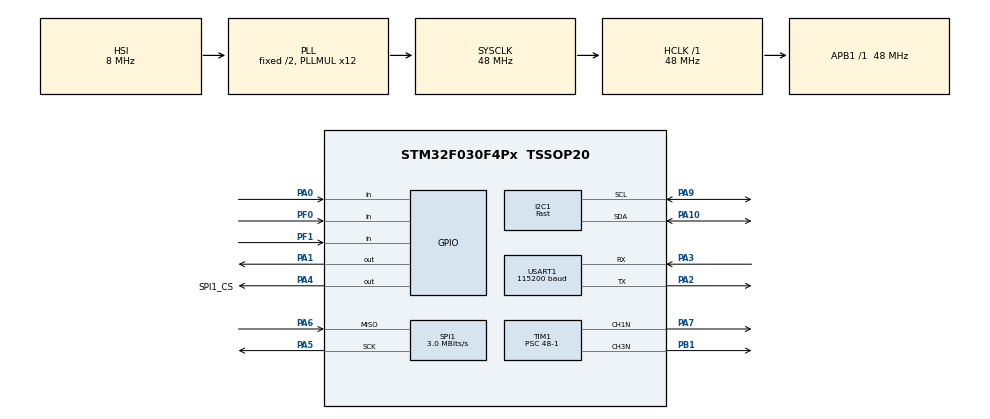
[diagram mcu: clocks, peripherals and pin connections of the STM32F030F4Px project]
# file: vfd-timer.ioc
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Dma.I2C1_TX.0.Direction=DMA_MEMORY_TO_PERIPH
Dma.I2C1_TX.0.Instance=DMA1_Channel2
Dma.I2C1_TX.0.MemDataAlignment=DMA_MDATAALIGN_BYTE
Dma.I2C1_TX.0.MemInc=DMA_MINC_ENABLE
Dma.I2C1_TX.0.Mode=DMA_NORMAL
Dma.I2C1_TX.0.PeriphDataAlignment=DMA_PDATAALIGN_BYTE
Dma.I2C1_TX.0.PeriphInc=DMA_PINC_DISABLE
Dma.I2C1_TX.0.Priority=DMA_PRIORITY_LOW
Dma.Request0=I2C1_TX
I2C1.I2C_Speed_Mode=I2C_Fast
I2C1.Timing=0x0010020A
Mcu.Family=STM32F0
Mcu.Name=STM32F030F4Px
Mcu.Package=TSSOP20
NVIC.DMA1_Channel2_3_IRQn=true\:0\:0\:false\:false\:true\:false\:true\:true
NVIC.TIM14_IRQn=true\:0\:0\:false\:false\:true\:true\:true\:true
NVIC.TIM17_IRQn=true\:3\:0\:false\:false\:true\:false\:true\:true
NVIC.TimeBase=TIM17_IRQn
NVIC.TimeBaseIP=TIM17
NVIC.USART1_IRQn=true\:2\:0\:true\:false\:true\:true\:true\:true
PA0.Signal=GPIO_Input
PA1.Signal=GPIO_Output
PA10.Mode=I2C
PA10.Signal=I2C1_SDA
PA13.Mode=Serial_Wire
PA13.Signal=SYS_SWDIO
PA14.Mode=Serial_Wire
PA14.Signal=SYS_SWCLK
PA2.Mode=Asynchronous
PA2.Signal=USART1_TX
PA3.Mode=Asynchronous
PA3.Signal=USART1_RX
PA4.GPIO_Label=SPI1_CS
PA4.PinState=GPIO_PIN_SET
PA4.Signal=GPIO_Output
PA5.Mode=RX_Only_Simplex_Unidirect_Master
PA5.Signal=SPI1_SCK
PA6.Mode=RX_Only_Simplex_Unidirect_Master
PA6.Signal=SPI1_MISO
PA7.Mode=PWM Generation1 CH1N
PA7.Signal=TIM1_CH1N
PA9.Mode=I2C
PA9.Signal=I2C1_SCL
PB1.Mode=PWM Generation3 CH3N
PB1.Signal=TIM1_CH3N
PF0-OSC_IN.Signal=GPIO_Input
PF1-OSC_OUT.Signal=GPIO_Input
ProjectManager.HeapSize=0x200
ProjectManager.StackSize=0x400
ProjectManager.TargetToolchain=STM32CubeIDE
RCC.AHBFreq_Value=48000000
RCC.APB1Freq_Value=48000000
RCC.APB1TimFreq_Value=48000000
RCC.HCLKFreq_Value=48000000
RCC.PLLMUL=RCC_PLL_MUL12
RCC.SYSCLKFreq_VALUE=48000000
RCC.SYSCLKSource=RCC_SYSCLKSOURCE_PLLCLK
SPI1.BaudRatePrescaler=SPI_BAUDRATEPRESCALER_16
SPI1.CalculateBaudRate=3.0 MBits/s
SPI1.DataSize=SPI_DATASIZE_16BIT
SPI1.Direction=SPI_DIRECTION_2LINES_RXONLY
SPI1.Mode=SPI_MODE_MASTER
SPI1.NSSPMode=SPI_NSS_PULSE_DISABLE
SPI1.TIMode=SPI_TIMODE_DISABLE
SPI1.VirtualType=VM_MASTER
TIM1.AutoReloadPreload=TIM_AUTORELOAD_PRELOAD_ENABLE
TIM1.AutomaticOutput=TIM_AUTOMATICOUTPUT_DISABLE
TIM1.Channel-PWM\ Generation1\ CH1N=TIM_CHANNEL_1
TIM1.Channel-PWM\ Generation3\ CH3N=TIM_CHANNEL_3
TIM1.CounterMode=TIM_COUNTERMODE_UP
TIM1.OCNPolarity_1=TIM_OCNPOLARITY_HIGH
TIM1.OCNPolarity_3=TIM_OCNPOLARITY_HIGH
TIM1.Period=1000-1
TIM1.Prescaler=48-1
TIM1.Pulse-PWM\ Generation1\ CH1N=1000
TIM1.Pulse-PWM\ Generation3\ CH3N=200
TIM14.AutoReloadPreload=TIM_AUTORELOAD_PRELOAD_ENABLE
TIM14.Period=1000-1
TIM14.Prescaler=48-1
USART1.BaudRate=115200
USART1.VirtualMode-Asynchronous=VM_ASYNC
VP_SYS_VS_tim17.Mode=TIM17
VP_TIM14_VS_ClockSourceINT.Mode=Enable_Timer
VP_TIM1_VS_ClockSourceINT.Mode=Internal
board=custom

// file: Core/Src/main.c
/* USER CODE BEGIN Header */
/**
  ******************************************************************************
  * @file           : main.c
  * @brief          : Main program body
  ******************************************************************************
  * @attention
  *
  * Copyright (c) 2024 STMicroelectronics.
  * All rights reserved.
  *
  * This software is licensed under terms that can be found in the LICENSE file
  * in the root directory of this software component.
  * If no LICENSE file comes with this software, it is provided AS-IS.
  *
  ******************************************************************************
  */
/* USER CODE END Header */
#include "main.h"

/* USER CODE BEGIN PD */
#define HEAT_PWM_DUTY (727-1)
#define MCP23017_ADDR 0x40

#define MCP23017_IODIRA		0x00
#define MCP23017_IODIRB		0x01
#define MCP23017_IPOLA		0x02
#define MCP23017_IPOLB		0x03
#define MCP23017_GPINTENA	0x04
#define MCP23017_GPINTENB	0x05
#define MCP23017_DEFVALA	0x06
#define MCP23017_DEFVALB	0x07
#define MCP23017_INTCONA	0x08
#define MCP23017_INTCONB	0x09
#define	MCP23017_IOCONA		0x0A
#define MCP23017_IOCONB		0x0B
#define MCP23017_GPPUA		0x0C
#define MCP23017_GPPUB		0x0D
#define MCP23017_INTFA		0x0E
#define MCP23017_INTFB		0x0F
#define MCP23017_INTCAPA	0x10
#define MCP23017_INTCAPB	0x11
#define MCP23017_GPIOA		0x12
#define MCP23017_GPIOB		0x13
#define MCP23017_OLATA		0x14
#define MCP23017_OLATB		0x15

#define NUM_0				(0x3F)
#define NUM_1				(0x14)
#define NUM_2				(0x6D)
#define NUM_3				(0x5D)
#define NUM_4				(0x56)
#define NUM_5				(0x5B)
#define NUM_6				(0x7B)
#define NUM_7				(0x15)
#define NUM_8				(0x7F)
#define NUM_9				(0x5F)
#define DOT					(0x80)
#define DOUBLE_DOT			(0x180)
#define UP_DOT				(0x100)

#define POS_0				(0x200)
#define POS_1				(0x400)
#define POS_2				(0x800)
#define POS_3				(0x1000)
#define POS_4				(0x2000)
/* USER CODE END PD */

I2C_HandleTypeDef hi2c1;
DMA_HandleTypeDef hdma_i2c1_tx;

SPI_HandleTypeDef hspi1;

TIM_HandleTypeDef htim1;
TIM_HandleTypeDef htim14;

UART_HandleTypeDef huart1;

/* USER CODE BEGIN PV */
volatile uint16_t vfd_buffer[5] = {0};
const uint16_t num_arr[] = {NUM_0, NUM_1, NUM_2, NUM_3, NUM_4, NUM_5, NUM_6, NUM_7, NUM_8, NUM_9, DOT, DOUBLE_DOT};
const uint16_t pos_arr[] = {POS_0, POS_1, POS_2, POS_3, POS_4};
volatile uint8_t timer_sw[3] = {0};
volatile uint32_t time_cnt[4] = {0};

enum {
	SW0 = 0,
	SW1,
	SW2,
	TIMEOUT
};
/* USER CODE END PV */

void SystemClock_Config(void);
static void MX_GPIO_Init(void);
static void MX_DMA_Init(void);
static void MX_USART1_UART_Init(void);
static void MX_SPI1_Init(void);
static void MX_I2C1_Init(void);
static void MX_TIM14_Init(void);
static void MX_TIM1_Init(void);

/* USER CODE BEGIN 0 */
void start_heat_vfd(void)
{
	HAL_TIMEx_PWMN_Start(&htim1, TIM_CHANNEL_1);
	HAL_TIMEx_PWMN_Start(&htim1, TIM_CHANNEL_3);
}

void stop_heat_vfd(void)
{
	HAL_TIMEx_PWMN_Stop(&htim1, TIM_CHANNEL_1);
	HAL_TIMEx_PWMN_Stop(&htim1, TIM_CHANNEL_3);
}

int get_temp(int *integer, int *fract)
{
	HAL_StatusTypeDef ret;
	uint16_t raw;

	HAL_GPIO_WritePin(SPI1_CS_GPIO_Port, SPI1_CS_Pin, GPIO_PIN_RESET);
	ret = HAL_SPI_Receive(&hspi1, (uint8_t*)&raw, 1, HAL_MAX_DELAY);
	if (ret == HAL_OK) {
	    if (((raw >> 2) & 1) == 1) {
	    	*integer = 0;
	    	*fract = 0;
	    } else {
	    	*integer = (int)(raw >> 3 & 0xFFF) / 4;
	    	*fract = (int)(raw >> 3 & 0xFFF) % 4 * 25;
	    	if (*integer > 99)
	    		*integer = 99;
	    }
	}
	HAL_GPIO_WritePin(SPI1_CS_GPIO_Port, SPI1_CS_Pin, GPIO_PIN_SET);
	return ret;
}

void enable_io(void)
{
	HAL_GPIO_WritePin(GPIOA, GPIO_PIN_1, GPIO_PIN_RESET);
	HAL_Delay(10);
	HAL_GPIO_WritePin(GPIOA, GPIO_PIN_1, GPIO_PIN_SET);
}

int get_sw_state(int n)
{
	switch (n) {
	case 0:
		return HAL_GPIO_ReadPin(GPIOF, GPIO_PIN_0);
	case 1:
		return HAL_GPIO_ReadPin(GPIOF, GPIO_PIN_1);
	case 2:
		return HAL_GPIO_ReadPin(GPIOA, GPIO_PIN_0);
	default:
		return -1;
	}
}

HAL_StatusTypeDef write_mcp23017(uint8_t reg, uint8_t *data, uint16_t size)
{
	return HAL_I2C_Mem_Write(&hi2c1, MCP23017_ADDR, reg, 1, data, size, 1000);
}

HAL_StatusTypeDef read_mcp23017(uint8_t reg, uint8_t *data, uint16_t size)
{
	return HAL_I2C_Mem_Read(&hi2c1, MCP23017_ADDR, reg, 1, data, size, 1000);
}

int setup_vfd_pin(void)
{
	int ret;
	uint16_t val;

	/* Set all pin low */
	val = 0;
	ret = write_mcp23017(MCP23017_GPIOA, (uint8_t*)&val, sizeof(val));
	if (ret)
		return -1;
	/* Set output */
	val = 0x0;
	ret = write_mcp23017(MCP23017_IODIRA, (uint8_t*)&val, sizeof(val));
	if (ret)
		return -1;
	return 0;
}

int write_vfd_pin(uint16_t pin)
{
	int ret;

	ret = write_mcp23017(MCP23017_GPIOA, (uint8_t*)&pin, sizeof(pin));
	return ret;
}

int read_vfd_pin(uint16_t *pin)
{
	int ret;

	ret = read_mcp23017(MCP23017_GPIOA, (uint8_t*)pin, sizeof(pin));
	return ret;
}

void gen_vfd_gigit(int pos, uint8_t num)
{
	uint16_t val;

	val = pos_arr[pos] | num_arr[num / 10];
	vfd_buffer[pos] = val;
	val = pos_arr[pos + 1] | num_arr[num % 10];
	vfd_buffer[pos + 1] = val;
}

void gen_vfd_dot(int one_or_two)
{
	switch (one_or_two) {
	case 1:
		vfd_buffer[2] = POS_2 | DOT;
		break;
	case 2:
		vfd_buffer[2] = POS_2 | DOUBLE_DOT;
		break;
	case 3:
		vfd_buffer[2] = POS_2 | UP_DOT;
		break;
	default:
		vfd_buffer[2] = 0;
	}
}

void gen_vfd_dot_or(int up, int on)
{
	uint16_t val = vfd_buffer[2] | POS_2;
	uint16_t dot;

	dot = up ? UP_DOT : DOT;
	if (on)
		val |= dot;
	else
		val &= ~dot;
	vfd_buffer[2] = val;
}

void vfd_display(void)
{
	for (int i = 0; i < 5; i++) {
		write_vfd_pin(vfd_buffer[i]);
		HAL_Delay(2);
	}
}

/* USER CODE END 0 */

int main(void)
{

  /* USER CODE BEGIN 1 */
  uint8_t val;
  uint32_t last_temp_tick = 0;
  int integer, fract;
  /* USER CODE END 1 */

  /* MCU Configuration--------------------------------------------------------*/

  /* Reset of all peripherals, Initializes the Flash interface and the Systick. */
  HAL_Init();

  /* Configure the system clock */
  SystemClock_Config();

  /* Initialize all configured peripherals */
  MX_GPIO_Init();
  MX_DMA_Init();
  MX_USART1_UART_Init();
  MX_SPI1_Init();
  MX_I2C1_Init();
  MX_TIM14_Init();
  MX_TIM1_Init();
  /* USER CODE BEGIN 2 */

  HAL_TIM_Base_Start_IT(&htim14);
  get_temp(&integer, &fract);
  /* Let`s warm up */
  start_heat_vfd();
  /* Wakey wakey, you are more expensive than the mcu */
  enable_io();
  HAL_Delay(1);
  setup_vfd_pin();
  HAL_Delay(100); /* Wait VFD heat up */

  /* USER CODE END 2 */

  /* Infinite loop */
  while (1)
  {

    /* USER CODE BEGIN 3 */
	if (HAL_GetTick() - last_temp_tick > 500) {
		last_temp_tick = HAL_GetTick();
		get_temp(&integer, &fract);
	}

	 uint8_t timer_cnt = 0;
	 for (int i = 0; i < 3; i++) {
		 val = get_sw_state(i);
		 if (val == 0) {
			 if (timer_sw[i] == 0)
				 time_cnt[i] = 0;
			 timer_sw[i] = 1;
			 time_cnt[TIMEOUT] = 5 * 60 * 1000;
			 if (++timer_cnt == 2)
				 break;
		 } else {
			 timer_sw[i] = 0;
		 }
	 }

	 if (timer_cnt == 1 && timer_sw[0] == 1) {
		 val = time_cnt[0] / 1000;
		 gen_vfd_gigit(0, val);
		 gen_vfd_gigit(3, integer);
		 if (val % 2)
			 gen_vfd_dot(3);
		 else
			 gen_vfd_dot(0);
	 } else if (timer_cnt == 1 && timer_sw[1] == 1) {
		 val = time_cnt[1] / 1000;
		 gen_vfd_gigit(0, val);
		 gen_vfd_gigit(3, integer);
		 if (val % 2)
			 gen_vfd_dot(3);
		 else
			 gen_vfd_dot(0);
	 } else if (timer_cnt == 1 && timer_sw[2] == 1) {
		 val = time_cnt[2] / 1000;
		 gen_vfd_gigit(3, time_cnt[2] / 1000);
		 gen_vfd_gigit(0, integer);
		 if (val % 2)
			 gen_vfd_dot(1);
		 else
			 gen_vfd_dot(0);
	 } else if (timer_cnt == 2) {
		 int pos = 0;
		 for (int i = 0; i < 3; i++) {
			 if (timer_sw[i]) {
				 val = time_cnt[i] / 1000;
				 gen_vfd_gigit(pos, val);
				 gen_vfd_dot_or(pos ? 0 : 1, val % 2);
				 pos += 3;
			 }
		 }
	 }
	 if (time_cnt[TIMEOUT] == 0){
		 gen_vfd_gigit(0, (uint8_t)integer);
		 gen_vfd_gigit(3, (uint8_t)fract);
		 gen_vfd_dot(1);
	 }

	 vfd_display();
  }
  /* USER CODE END 3 */
}

void SystemClock_Config(void)
{
  RCC_OscInitTypeDef RCC_OscInitStruct = {0};
  RCC_ClkInitTypeDef RCC_ClkInitStruct = {0};
  RCC_PeriphCLKInitTypeDef PeriphClkInit = {0};

  /** Initializes the RCC Oscillators according to the specified parameters
  * in the RCC_OscInitTypeDef structure.
  */
  RCC_OscInitStruct.OscillatorType = RCC_OSCILLATORTYPE_HSI;
  RCC_OscInitStruct.HSIState = RCC_HSI_ON;
  RCC_OscInitStruct.HSICalibrationValue = RCC_HSICALIBRATION_DEFAULT;
  RCC_OscInitStruct.PLL.PLLState = RCC_PLL_ON;
  RCC_OscInitStruct.PLL.PLLSource = RCC_PLLSOURCE_HSI;
  RCC_OscInitStruct.PLL.PLLMUL = RCC_PLL_MUL12;
  RCC_OscInitStruct.PLL.PREDIV = RCC_PREDIV_DIV1;
  if (HAL_RCC_OscConfig(&RCC_OscInitStruct) != HAL_OK)
  {
    Error_Handler();
  }

  /** Initializes the CPU, AHB and APB buses clocks
  */
  RCC_ClkInitStruct.ClockType = RCC_CLOCKTYPE_HCLK|RCC_CLOCKTYPE_SYSCLK
                              |RCC_CLOCKTYPE_PCLK1;
  RCC_ClkInitStruct.SYSCLKSource = RCC_SYSCLKSOURCE_PLLCLK;
  RCC_ClkInitStruct.AHBCLKDivider = RCC_SYSCLK_DIV1;
  RCC_ClkInitStruct.APB1CLKDivider = RCC_HCLK_DIV1;

  if (HAL_RCC_ClockConfig(&RCC_ClkInitStruct, FLASH_LATENCY_1) != HAL_OK)
  {
    Error_Handler();
  }
  PeriphClkInit.PeriphClockSelection = RCC_PERIPHCLK_USART1|RCC_PERIPHCLK_I2C1;
  PeriphClkInit.Usart1ClockSelection = RCC_USART1CLKSOURCE_PCLK1;
  PeriphClkInit.I2c1ClockSelection = RCC_I2C1CLKSOURCE_HSI;
  if (HAL_RCCEx_PeriphCLKConfig(&PeriphClkInit) != HAL_OK)
  {
    Error_Handler();
  }
}

static void MX_I2C1_Init(void)
{

  hi2c1.Instance = I2C1;
  hi2c1.Init.Timing = 0x0010020A;
  hi2c1.Init.OwnAddress1 = 0;
  hi2c1.Init.AddressingMode = I2C_ADDRESSINGMODE_7BIT;
  hi2c1.Init.DualAddressMode = I2C_DUALADDRESS_DISABLE;
  hi2c1.Init.OwnAddress2 = 0;
  hi2c1.Init.OwnAddress2Masks = I2C_OA2_NOMASK;
  hi2c1.Init.GeneralCallMode = I2C_GENERALCALL_DISABLE;
  hi2c1.Init.NoStretchMode = I2C_NOSTRETCH_DISABLE;
  if (HAL_I2C_Init(&hi2c1) != HAL_OK)
  {
    Error_Handler();
  }

  /** Configure Analogue filter
  */
  if (HAL_I2CEx_ConfigAnalogFilter(&hi2c1, I2C_ANALOGFILTER_ENABLE) != HAL_OK)
  {
    Error_Handler();
  }

  /** Configure Digital filter
  */
  if (HAL_I2CEx_ConfigDigitalFilter(&hi2c1, 0) != HAL_OK)
  {
    Error_Handler();
  }

}

static void MX_SPI1_Init(void)
{

  /* SPI1 parameter configuration*/
  hspi1.Instance = SPI1;
  hspi1.Init.Mode = SPI_MODE_MASTER;
  hspi1.Init.Direction = SPI_DIRECTION_2LINES_RXONLY;
  hspi1.Init.DataSize = SPI_DATASIZE_16BIT;
  hspi1.Init.CLKPolarity = SPI_POLARITY_LOW;
  hspi1.Init.CLKPhase = SPI_PHASE_1EDGE;
  hspi1.Init.NSS = SPI_NSS_SOFT;
  hspi1.Init.BaudRatePrescaler = SPI_BAUDRATEPRESCALER_16;
  hspi1.Init.FirstBit = SPI_FIRSTBIT_MSB;
  hspi1.Init.TIMode = SPI_TIMODE_DISABLE;
  hspi1.Init.CRCCalculation = SPI_CRCCALCULATION_DISABLE;
  hspi1.Init.CRCPolynomial = 7;
  hspi1.Init.CRCLength = SPI_CRC_LENGTH_DATASIZE;
  hspi1.Init.NSSPMode = SPI_NSS_PULSE_DISABLE;
  if (HAL_SPI_Init(&hspi1) != HAL_OK)
  {
    Error_Handler();
  }

}

static void MX_TIM1_Init(void)
{

  TIM_ClockConfigTypeDef sClockSourceConfig = {0};
  TIM_MasterConfigTypeDef sMasterConfig = {0};
  TIM_OC_InitTypeDef sConfigOC = {0};
  TIM_BreakDeadTimeConfigTypeDef sBreakDeadTimeConfig = {0};

  htim1.Instance = TIM1;
  htim1.Init.Prescaler = 48-1;
  htim1.Init.CounterMode = TIM_COUNTERMODE_UP;
  htim1.Init.Period = 1000-1;
  htim1.Init.ClockDivision = TIM_CLOCKDIVISION_DIV1;
  htim1.Init.RepetitionCounter = 0;
  htim1.Init.AutoReloadPreload = TIM_AUTORELOAD_PRELOAD_ENABLE;
  if (HAL_TIM_Base_Init(&htim1) != HAL_OK)
  {
    Error_Handler();
  }
  sClockSourceConfig.ClockSource = TIM_CLOCKSOURCE_INTERNAL;
  if (HAL_TIM_ConfigClockSource(&htim1, &sClockSourceConfig) != HAL_OK)
  {
    Error_Handler();
  }
  if (HAL_TIM_PWM_Init(&htim1) != HAL_OK)
  {
    Error_Handler();
  }
  sMasterConfig.MasterOutputTrigger = TIM_TRGO_RESET;
  sMasterConfig.MasterSlaveMode = TIM_MASTERSLAVEMODE_DISABLE;
  if (HAL_TIMEx_MasterConfigSynchronization(&htim1, &sMasterConfig) != HAL_OK)
  {
    Error_Handler();
  }
  sConfigOC.OCMode = TIM_OCMODE_PWM1;
  sConfigOC.Pulse = 1000;
  sConfigOC.OCPolarity = TIM_OCPOLARITY_HIGH;
  sConfigOC.OCNPolarity = TIM_OCNPOLARITY_HIGH;
  sConfigOC.OCFastMode = TIM_OCFAST_DISABLE;
  sConfigOC.OCIdleState = TIM_OCIDLESTATE_RESET;
  sConfigOC.OCNIdleState = TIM_OCNIDLESTATE_RESET;
  if (HAL_TIM_PWM_ConfigChannel(&htim1, &sConfigOC, TIM_CHANNEL_1) != HAL_OK)
  {
    Error_Handler();
  }
  sConfigOC.Pulse = 200;
  if (HAL_TIM_PWM_ConfigChannel(&htim1, &sConfigOC, TIM_CHANNEL_3) != HAL_OK)
  {
    Error_Handler();
  }
  sBreakDeadTimeConfig.OffStateRunMode = TIM_OSSR_DISABLE;
  sBreakDeadTimeConfig.OffStateIDLEMode = TIM_OSSI_DISABLE;
  sBreakDeadTimeConfig.LockLevel = TIM_LOCKLEVEL_OFF;
  sBreakDeadTimeConfig.DeadTime = 0;
  sBreakDeadTimeConfig.BreakState = TIM_BREAK_DISABLE;
  sBreakDeadTimeConfig.BreakPolarity = TIM_BREAKPOLARITY_HIGH;
  sBreakDeadTimeConfig.AutomaticOutput = TIM_AUTOMATICOUTPUT_DISABLE;
  if (HAL_TIMEx_ConfigBreakDeadTime(&htim1, &sBreakDeadTimeConfig) != HAL_OK)
  {
    Error_Handler();
  }
  HAL_TIM_MspPostInit(&htim1);

}

static void MX_TIM14_Init(void)
{

  htim14.Instance = TIM14;
  htim14.Init.Prescaler = 48-1;
  htim14.Init.CounterMode = TIM_COUNTERMODE_UP;
  htim14.Init.Period = 1000-1;
  htim14.Init.ClockDivision = TIM_CLOCKDIVISION_DIV1;
  htim14.Init.AutoReloadPreload = TIM_AUTORELOAD_PRELOAD_ENABLE;
  if (HAL_TIM_Base_Init(&htim14) != HAL_OK)
  {
    Error_Handler();
  }

}

static void MX_USART1_UART_Init(void)
{

  huart1.Instance = USART1;
  huart1.Init.BaudRate = 115200;
  huart1.Init.WordLength = UART_WORDLENGTH_8B;
  huart1.Init.StopBits = UART_STOPBITS_1;
  huart1.Init.Parity = UART_PARITY_NONE;
  huart1.Init.Mode = UART_MODE_TX_RX;
  huart1.Init.HwFlowCtl = UART_HWCONTROL_NONE;
  huart1.Init.OverSampling = UART_OVERSAMPLING_16;
  huart1.Init.OneBitSampling = UART_ONE_BIT_SAMPLE_DISABLE;
  huart1.AdvancedInit.AdvFeatureInit = UART_ADVFEATURE_NO_INIT;
  if (HAL_UART_Init(&huart1) != HAL_OK)
  {
    Error_Handler();
  }

}

static void MX_DMA_Init(void)
{

  /* DMA controller clock enable */
  __HAL_RCC_DMA1_CLK_ENABLE();

  /* DMA interrupt init */
  /* DMA1_Channel2_3_IRQn interrupt configuration */
  HAL_NVIC_SetPriority(DMA1_Channel2_3_IRQn, 0, 0);
  HAL_NVIC_EnableIRQ(DMA1_Channel2_3_IRQn);

}

static void MX_GPIO_Init(void)
{
  GPIO_InitTypeDef GPIO_InitStruct = {0};

  /* GPIO Ports Clock Enable */
  __HAL_RCC_GPIOF_CLK_ENABLE();
  __HAL_RCC_GPIOA_CLK_ENABLE();
  __HAL_RCC_GPIOB_CLK_ENABLE();

  /*Configure GPIO pin Output Level */
  HAL_GPIO_WritePin(GPIOA, GPIO_PIN_1, GPIO_PIN_RESET);

  /*Configure GPIO pin Output Level */
  HAL_GPIO_WritePin(SPI1_CS_GPIO_Port, SPI1_CS_Pin, GPIO_PIN_SET);

  /*Configure GPIO pins : PF0 PF1 */
  GPIO_InitStruct.Pin = GPIO_PIN_0|GPIO_PIN_1;
  GPIO_InitStruct.Mode = GPIO_MODE_INPUT;
  GPIO_InitStruct.Pull = GPIO_NOPULL;
  HAL_GPIO_Init(GPIOF, &GPIO_InitStruct);

  /*Configure GPIO pin : PA0 */
  GPIO_InitStruct.Pin = GPIO_PIN_0;
  GPIO_InitStruct.Mode = GPIO_MODE_INPUT;
  GPIO_InitStruct.Pull = GPIO_NOPULL;
  HAL_GPIO_Init(GPIOA, &GPIO_InitStruct);

  /*Configure GPIO pins : PA1 SPI1_CS_Pin */
  GPIO_InitStruct.Pin = GPIO_PIN_1|SPI1_CS_Pin;
  GPIO_InitStruct.Mode = GPIO_MODE_OUTPUT_PP;
  GPIO_InitStruct.Pull = GPIO_NOPULL;
  GPIO_InitStruct.Speed = GPIO_SPEED_FREQ_LOW;
  HAL_GPIO_Init(GPIOA, &GPIO_InitStruct);

}

void HAL_TIM_PeriodElapsedCallback(TIM_HandleTypeDef *htim)
{
  if (htim->Instance == TIM17) {
    HAL_IncTick();
  }
  /* USER CODE BEGIN Callback 1 */
  if (htim->Instance == TIM14) {
	  for (int i = 0; i < 3; i++) {
		  if (timer_sw[i])
			  time_cnt[i] ++;
	  }
	  if (time_cnt[TIMEOUT] != 0)
		  time_cnt[TIMEOUT]--;
	}
  /* USER CODE END Callback 1 */
}

void Error_Handler(void)
{
  __disable_irq();
  while (1)
  {
  }
}
